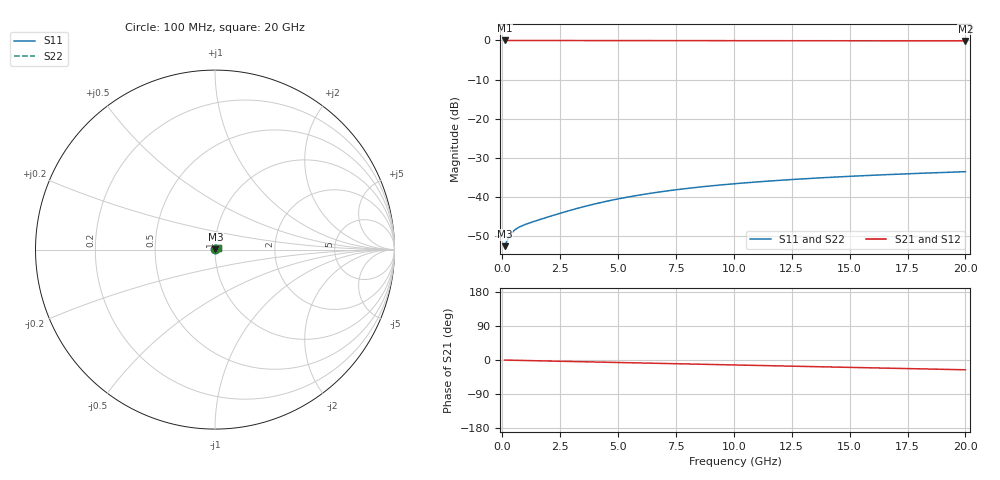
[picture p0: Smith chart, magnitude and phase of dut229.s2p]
! Touchstone file exported from HFSS 2026.1.0
!  File:  C:/ffzhzh/LocalFiles/Ansys_Project_Files/temp_train_TMRDL_229_1782984473_42984.aedt
!  Generated:  05:28:59 PM Jul  2, 2026
!  Design:  TMRDL
!  Project:  temp_train_TMRDL_229_1782984473_42984
! Variables:
!  h_bsmrdl = 2um
!  h_ox = 20um
!  h_rdl = 5um
!  h_sub = 80um
!  h_tmrdl = 3.41um
!  h_tsv = 80um
!  h_via = 3um
!  l_bsmrdl = 300um
!  l_sub = 854.14um
!  l_tmrdl = 454.14um
!  m_sub = 200um
!  pitch = 28.17um
!  r_tsv = 6um
!  s_tmrdl = 10um
!  w_bsmrdl = 18um
!  w_sub = 500um
!  w_tmrdl = 23.74um
!  x_tsv_center1 = 466.01um
!  x_tsv_center2 = 784.01um
!  x_tsv_center3 = 1261.89um
!  x_tsv_center4 = 1579.89um
!  x_tsv_center5 = 2057.77um
!  x_tsv_center6 = 2375.77um
# GHz S MA R 50.000000
! Terminal data exported
! Port[1] = TM_RDL1_1_T1
! Port[2] = TM_RDL1_1_T2
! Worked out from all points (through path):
!   200 points, 100 MHz to 20 GHz, reference 50 ohm
!   highest |S21| = -0.02 dB at 100 MHz (marker M1); lowest = -0.1 dB at 20 GHz (marker M2)
!   group delay of S21, straight-line fit = 3.57 ps
!   lowest |S11| = -52.6 dB at 100 MHz (marker M3), VSWR 1.00, Z = 50.2 + j0.0571 ohm
!   |S11| at or under -10 dB: start of sweep to end of sweep
!   |S22| runs from -52.6 to -33.5 dB; largest |S21 - S12| = 4.4e-15
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0.1  0.002345 14.0  0.9977 -0.2  0.9977 -0.2  0.002345 14.0
! Gamma 0 0 0 0
! Port Impedance 50 0 50 0
0.2  0.002719 22.1  0.9975 -0.3  0.9975 -0.3  0.002713 22.3
0.3  0.003109 25.4  0.9972 -0.5  0.9972 -0.5  0.003105 25.9
0.4  0.003435 26.6  0.9969 -0.6  0.9969 -0.6  0.00344 27.2
0.5  0.003693 27.0  0.9967 -0.7  0.9967 -0.7  0.003706 27.8
0.6  0.003896 27.3  0.9966 -0.9  0.9966 -0.9  0.003918 28.1
0.8  0.004206 28.1  0.9963 -1.1  0.9963 -1.1  0.004238 28.8
1.1  0.004562 30.0  0.9961 -1.5  0.9961 -1.5  0.0046 30.6
1.8  0.005333 35.4  0.9958 -2.4  0.9958 -2.4  0.005366 35.7
2.7  0.006431 40.6  0.9954 -3.6  0.9954 -3.6  0.006451 40.7
3.5  0.007473 43.1  0.995 -4.7  0.995 -4.7  0.007485 43.1
4.3  0.008524 44.2  0.9945 -5.7  0.9945 -5.7  0.008531 44.2
5.1  0.009548 44.4  0.994 -6.8  0.994 -6.8  0.009554 44.4
5.9  0.01053 44.0  0.9934 -7.8  0.9934 -7.8  0.01053 43.9
6.8  0.01157 43.1  0.9928 -9.0  0.9928 -9.0  0.01158 43.0
8.3  0.01314 41.1  0.9918 -10.9  0.9918 -10.9  0.01316 41.0
10.1  0.01479 38.4  0.9906 -13.2  0.9906 -13.2  0.01482 38.3
11.7  0.01607 35.9  0.9897 -15.3  0.9897 -15.3  0.01611 35.8
13.4  0.01728 33.4  0.9888 -17.4  0.9888 -17.4  0.01733 33.3
15  0.01831 31.1  0.988 -19.5  0.988 -19.5  0.01836 31.0
16.7  0.0193 28.8  0.9872 -21.6  0.9872 -21.6  0.01937 28.6
20  0.02098 24.4  0.9859 -25.8  0.9859 -25.8  0.02108 24.1
